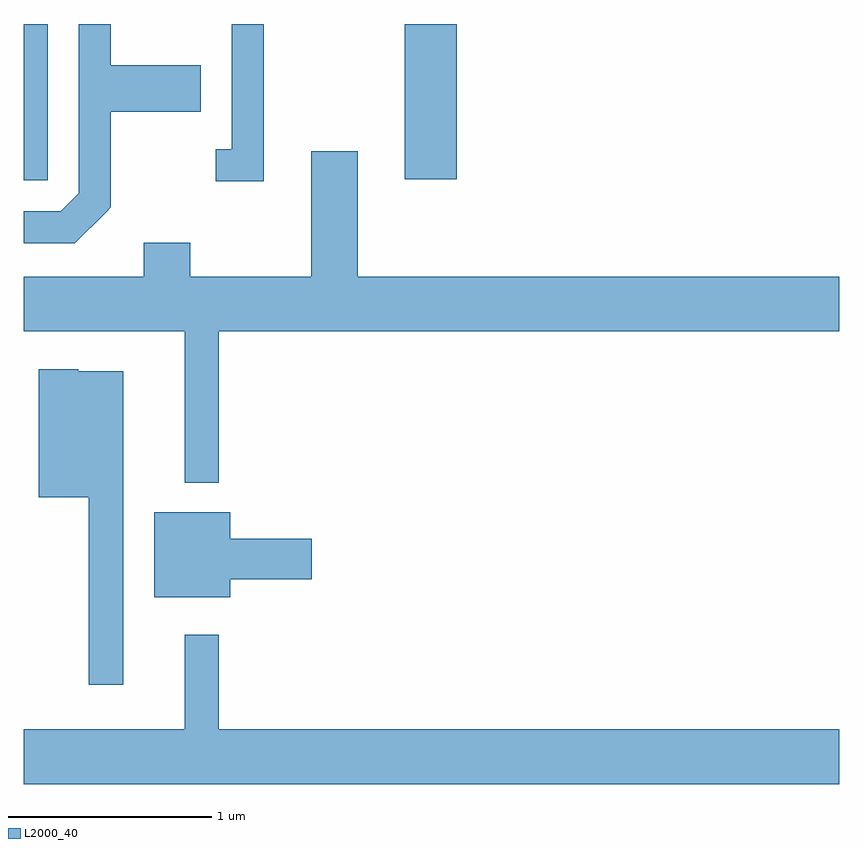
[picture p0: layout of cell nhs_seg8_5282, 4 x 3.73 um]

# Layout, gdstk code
import gdstk
lib = gdstk.Library(unit=1e-6, precision=1e-09)
def R(c, l, rs):  # rectangles x0, y0, x1, y1
    for r in rs: c.add(gdstk.rectangle(r[:2], r[2:], *l))
def P(c, l, *ps):  # polygons
    for p in ps: c.add(gdstk.Polygon(p, *l))
L2000_40 = (2000, 40)

nhs_seg8_5282 = lib.new_cell('nhs_seg8_5282')
R(nhs_seg8_5282, L2000_40, [(343.611,1861.576,343.729,1862.342), (345.481,1861.581,345.734,1862.342)])
P(nhs_seg8_5282, L2000_40, [(344.013,1861.417),(344.039,1861.444),(344.039,1861.911),(344.479,1861.911),(344.479,1862.139),(344.039,1862.139),(344.039,1862.342),(343.881,1862.342),(343.881,1861.512),(343.794,1861.424),(343.611,1861.424),(343.611,1861.266),(343.862,1861.266)],
  [(344.789,1862.342),(344.631,1862.342),(344.631,1861.729),(344.553,1861.729),(344.553,1861.571),(344.789,1861.571)],
  [(344.569,1860.836),(347.611,1860.836),(347.611,1861.104),(345.249,1861.104),(345.249,1861.719),(345.021,1861.719),(345.021,1861.104),(344.429,1861.104),(344.429,1861.269),(344.201,1861.269),(344.201,1861.104),(343.611,1861.104),(343.611,1860.836),(344.401,1860.836),(344.401,1860.093),(344.569,1860.093)],
  [(344.099,1860.639),(343.88,1860.639),(343.88,1860.649),(343.686,1860.649),(343.686,1860.021),(343.931,1860.021),(343.931,1859.103),(344.099,1859.103)],
  [(344.624,1859.621),(345.024,1859.621),(345.024,1859.819),(344.624,1859.819),(344.624,1859.949),(344.251,1859.949),(344.251,1859.531),(344.624,1859.531)],
  [(347.611,1858.884),(344.569,1858.884),(344.569,1859.348),(344.401,1859.348),(344.401,1858.884),(343.611,1858.884),(343.611,1858.616),(347.611,1858.616)])

lib.write_gds('nhs_seg8_5282.gds')
